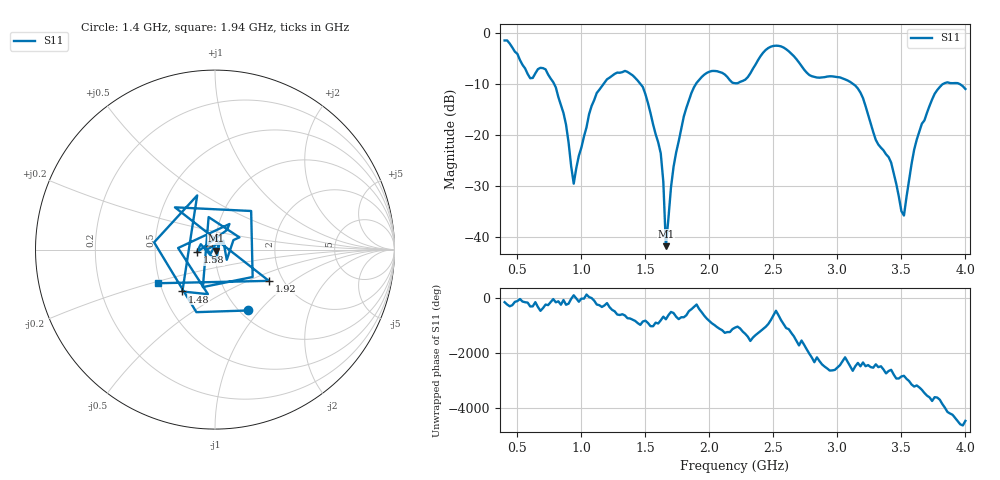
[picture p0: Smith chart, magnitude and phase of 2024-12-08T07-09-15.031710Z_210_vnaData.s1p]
!Created with skrf (http://scikit-rf.org).
# Hz S RI R 50.0
!freq ReS11 ImS11
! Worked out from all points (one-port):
!   181 points, 400 MHz to 4 GHz, reference 50 ohm
!   lowest |S11| = -41.8 dB at 1.66 GHz (marker M1), VSWR 1.02, Z = 50.6 - j0.603 ohm
!   |S11| at or under -10 dB: 787.2 MHz to 1.172 GHz (385 MHz wide, 39.3 % of centre); 1.461 GHz to 1.895 GHz (433.2 MHz wide, 25.8 % of centre); 3.123 GHz to 3.825 GHz (701.2 MHz wide, 20.2 % of centre) (the widest 3 of 4)
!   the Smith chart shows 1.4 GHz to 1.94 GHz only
!   S11 on the Smith chart (normalised r, x): 1.4 GHz: 1.09, -0.87; 1.48 GHz: 0.63, -0.32; 1.58 GHz: 0.82, -0.02; 1.92 GHz: 1.69, -0.67; 1.94 GHz: 0.49, -0.21
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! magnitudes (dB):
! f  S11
! 400 MHz  -1.5
! 600 MHz  -8.9
! 720 MHz  -7.1
! 860 MHz  -15.7
! 940 MHz  -29.5
! 1.12 GHz  -11.7
! 1.3 GHz  -7.8
! 1.4 GHz  -8.3
! 1.48 GHz  -10.6
! 1.58 GHz  -19.8
! 1.62 GHz  -23.6
! 1.64 GHz  -29.1
! 1.66 GHz  -41.8
! 1.7 GHz  -30.2
! 1.76 GHz  -21.2
! 1.92 GHz  -9.2
! 1.94 GHz  -8.6
! 2.2 GHz  -9.8
! 2.48 GHz  -2.7
! 2.66 GHz  -4.5
! 2.8 GHz  -8.5
! 3.1 GHz  -9.6
! 3.42 GHz  -25.4
! 3.52 GHz  -35.8
! 3.56 GHz  -28.9
! 3.62 GHz  -20.9
! 3.76 GHz  -11.9
! 4 GHz  -11.0
